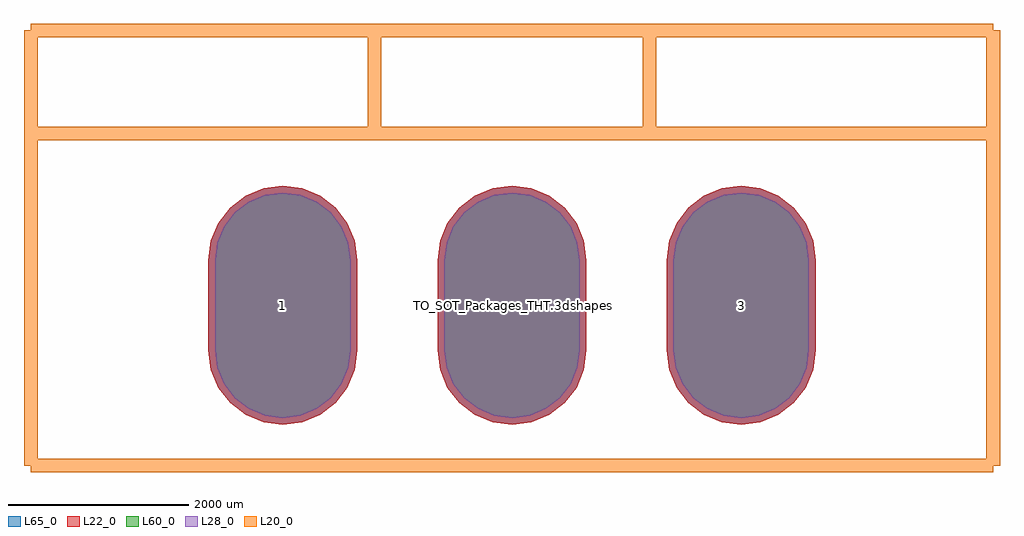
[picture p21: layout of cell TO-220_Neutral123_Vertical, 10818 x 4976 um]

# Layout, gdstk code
import gdstk
lib = gdstk.Library(unit=1e-6, precision=1e-09)
def P(c, l, *ps):  # polygons
    for p in ps: c.add(gdstk.Polygon(p, *l))
L20_0 = (20, 0)
L22_0 = (22, 0)
L28_0 = (28, 0)
L60_0 = (60, 0)
L65_0 = (65, 0)

to_220_neutral123_vertic = lib.new_cell('TO-220_Neutral123_Vertical')
P(to_220_neutral123_vertic, L22_0, [(2540,-1324.68),(2753.673,-1296.549),(2952.785,-1214.075),(3123.766,-1082.876),(3254.965,-911.895),(3337.439,-712.783),(3365.57,-499.11),(3365.57,499.11),(3337.439,712.783),(3254.965,911.895),(3123.766,1082.876),(2952.785,1214.075),(2753.673,1296.549),(2540,1324.68),(2326.327,1296.549),(2127.215,1214.075),(1956.234,1082.876),(1825.035,911.895),(1742.561,712.783),(1714.43,499.11),(1714.43,-499.11),(1742.561,-712.783),(1825.035,-911.895),(1956.234,-1082.876),(2127.215,-1214.075),(2326.327,-1296.549)],
  [(-2540,-1324.68),(-2326.327,-1296.549),(-2127.215,-1214.075),(-1956.234,-1082.876),(-1825.035,-911.895),(-1742.561,-712.783),(-1714.43,-499.11),(-1714.43,499.11),(-1742.561,712.783),(-1825.035,911.895),(-1956.234,1082.876),(-2127.215,1214.075),(-2326.327,1296.549),(-2540,1324.68),(-2753.673,1296.549),(-2952.785,1214.075),(-3123.766,1082.876),(-3254.965,911.895),(-3337.439,712.783),(-3365.57,499.11),(-3365.57,-499.11),(-3337.439,-712.783),(-3254.965,-911.895),(-3123.766,-1082.876),(-2952.785,-1214.075),(-2753.673,-1296.549)],
  [(0,-1324.68),(213.673,-1296.549),(412.785,-1214.075),(583.766,-1082.876),(714.965,-911.895),(797.439,-712.783),(825.57,-499.11),(825.57,499.11),(797.439,712.783),(714.965,911.895),(583.766,1082.876),(412.785,1214.075),(213.673,1296.549),(0,1324.68),(-213.673,1296.549),(-412.785,1214.075),(-583.766,1082.876),(-714.965,911.895),(-797.439,712.783),(-825.57,499.11),(-825.57,-499.11),(-797.439,-712.783),(-714.965,-911.895),(-583.766,-1082.876),(-412.785,-1214.075),(-213.673,-1296.549)])
P(to_220_neutral123_vertic, L28_0, [(2540,-1249.68),(2734.262,-1224.105),(2915.285,-1149.123),(3070.733,-1029.843),(3190.013,-874.395),(3264.995,-693.372),(3290.57,-499.11),(3290.57,499.11),(3264.995,693.372),(3190.013,874.395),(3070.733,1029.843),(2915.285,1149.123),(2734.262,1224.105),(2540,1249.68),(2345.738,1224.105),(2164.715,1149.123),(2009.267,1029.843),(1889.987,874.395),(1815.005,693.372),(1789.43,499.11),(1789.43,-499.11),(1815.005,-693.372),(1889.987,-874.395),(2009.267,-1029.843),(2164.715,-1149.123),(2345.738,-1224.105)],
  [(-2540,-1249.68),(-2345.738,-1224.105),(-2164.715,-1149.123),(-2009.267,-1029.843),(-1889.987,-874.395),(-1815.005,-693.372),(-1789.43,-499.11),(-1789.43,499.11),(-1815.005,693.372),(-1889.987,874.395),(-2009.267,1029.843),(-2164.715,1149.123),(-2345.738,1224.105),(-2540,1249.68),(-2734.262,1224.105),(-2915.285,1149.123),(-3070.733,1029.843),(-3190.013,874.395),(-3264.995,693.372),(-3290.57,499.11),(-3290.57,-499.11),(-3264.995,-693.372),(-3190.013,-874.395),(-3070.733,-1029.843),(-2915.285,-1149.123),(-2734.262,-1224.105)],
  [(0,-1249.68),(194.262,-1224.105),(375.285,-1149.123),(530.733,-1029.843),(650.013,-874.395),(724.995,-693.372),(750.57,-499.11),(750.57,499.11),(724.995,693.372),(650.013,874.395),(530.733,1029.843),(375.285,1149.123),(194.262,1224.105),(0,1249.68),(-194.262,1224.105),(-375.285,1149.123),(-530.733,1029.843),(-650.013,874.395),(-724.995,693.372),(-750.57,499.11),(-750.57,-499.11),(-724.995,-693.372),(-650.013,-874.395),(-530.733,-1029.843),(-375.285,-1149.123),(-194.262,-1224.105)])
P(to_220_neutral123_vertic, L60_0, [(2540,-1249.68),(2734.262,-1224.105),(2915.285,-1149.123),(3070.733,-1029.843),(3190.013,-874.395),(3264.995,-693.372),(3290.57,-499.11),(3290.57,499.11),(3264.995,693.372),(3190.013,874.395),(3070.733,1029.843),(2915.285,1149.123),(2734.262,1224.105),(2540,1249.68),(2345.738,1224.105),(2164.715,1149.123),(2009.267,1029.843),(1889.987,874.395),(1815.005,693.372),(1789.43,499.11),(1789.43,-499.11),(1815.005,-693.372),(1889.987,-874.395),(2009.267,-1029.843),(2164.715,-1149.123),(2345.738,-1224.105)],
  [(-2540,-1249.68),(-2345.738,-1224.105),(-2164.715,-1149.123),(-2009.267,-1029.843),(-1889.987,-874.395),(-1815.005,-693.372),(-1789.43,-499.11),(-1789.43,499.11),(-1815.005,693.372),(-1889.987,874.395),(-2009.267,1029.843),(-2164.715,1149.123),(-2345.738,1224.105),(-2540,1249.68),(-2734.262,1224.105),(-2915.285,1149.123),(-3070.733,1029.843),(-3190.013,874.395),(-3264.995,693.372),(-3290.57,499.11),(-3290.57,-499.11),(-3264.995,-693.372),(-3190.013,-874.395),(-3070.733,-1029.843),(-2915.285,-1149.123),(-2734.262,-1224.105)],
  [(0,-1249.68),(194.262,-1224.105),(375.285,-1149.123),(530.733,-1029.843),(650.013,-874.395),(724.995,-693.372),(750.57,-499.11),(750.57,499.11),(724.995,693.372),(650.013,874.395),(530.733,1029.843),(375.285,1149.123),(194.262,1224.105),(0,1249.68),(-194.262,1224.105),(-375.285,1149.123),(-530.733,1029.843),(-650.013,874.395),(-724.995,693.372),(-750.57,499.11),(-750.57,-499.11),(-724.995,-693.372),(-650.013,-874.395),(-530.733,-1029.843),(-375.285,-1149.123),(-194.262,-1224.105)])
P(to_220_neutral123_vertic, L65_0, [(2540,-1324.68),(2753.673,-1296.549),(2952.785,-1214.075),(3123.766,-1082.876),(3254.965,-911.895),(3337.439,-712.783),(3365.57,-499.11),(3365.57,499.11),(3337.439,712.783),(3254.965,911.895),(3123.766,1082.876),(2952.785,1214.075),(2753.673,1296.549),(2540,1324.68),(2326.327,1296.549),(2127.215,1214.075),(1956.234,1082.876),(1825.035,911.895),(1742.561,712.783),(1714.43,499.11),(1714.43,-499.11),(1742.561,-712.783),(1825.035,-911.895),(1956.234,-1082.876),(2127.215,-1214.075),(2326.327,-1296.549)],
  [(-2540,-1324.68),(-2326.327,-1296.549),(-2127.215,-1214.075),(-1956.234,-1082.876),(-1825.035,-911.895),(-1742.561,-712.783),(-1714.43,-499.11),(-1714.43,499.11),(-1742.561,712.783),(-1825.035,911.895),(-1956.234,1082.876),(-2127.215,1214.075),(-2326.327,1296.549),(-2540,1324.68),(-2753.673,1296.549),(-2952.785,1214.075),(-3123.766,1082.876),(-3254.965,911.895),(-3337.439,712.783),(-3365.57,499.11),(-3365.57,-499.11),(-3337.439,-712.783),(-3254.965,-911.895),(-3123.766,-1082.876),(-2952.785,-1214.075),(-2753.673,-1296.549)],
  [(0,-1324.68),(213.673,-1296.549),(412.785,-1214.075),(583.766,-1082.876),(714.965,-911.895),(797.439,-712.783),(825.57,-499.11),(825.57,499.11),(797.439,712.783),(714.965,911.895),(583.766,1082.876),(412.785,1214.075),(213.673,1296.549),(0,1324.68),(-213.673,1296.549),(-412.785,1214.075),(-583.766,1082.876),(-714.965,911.895),(-797.439,712.783),(-825.57,499.11),(-825.57,-499.11),(-797.439,-712.783),(-714.965,-911.895),(-583.766,-1082.876),(-412.785,-1214.075),(-213.673,-1296.549)])
to_220_neutral123_vertic.add(gdstk.FlexPath([(0,3048),(5334,3048)], 149.998, ends="flush", simple_path=True, layer=20, datatype=0))  # L20_0
to_220_neutral123_vertic.add(gdstk.FlexPath([(0,3048),(-5334,3048)], 149.998, ends="flush", simple_path=True, layer=20, datatype=0))  # L20_0
to_220_neutral123_vertic.add(gdstk.FlexPath([(-5334,1905),(-5334,3048)], 149.998, ends="flush", simple_path=True, layer=20, datatype=0))  # L20_0
to_220_neutral123_vertic.add(gdstk.FlexPath([(5334,1905),(-5334,1905)], 149.998, ends="flush", simple_path=True, layer=20, datatype=0))  # L20_0
to_220_neutral123_vertic.add(gdstk.FlexPath([(5334,3048),(5334,1905)], 149.998, ends="flush", simple_path=True, layer=20, datatype=0))  # L20_0
to_220_neutral123_vertic.add(gdstk.FlexPath([(-5334,-1778),(-5334,1905)], 149.998, ends="flush", simple_path=True, layer=20, datatype=0))  # L20_0
to_220_neutral123_vertic.add(gdstk.FlexPath([(5334,-1778),(-5334,-1778)], 149.998, ends="flush", simple_path=True, layer=20, datatype=0))  # L20_0
to_220_neutral123_vertic.add(gdstk.FlexPath([(5334,1905),(5334,-1778)], 149.998, ends="flush", simple_path=True, layer=20, datatype=0))  # L20_0
to_220_neutral123_vertic.add(gdstk.FlexPath([(1524,3048),(1524,1905)], 149.998, ends="flush", simple_path=True, layer=20, datatype=0))  # L20_0
to_220_neutral123_vertic.add(gdstk.FlexPath([(-1524,3048),(-1524,1905)], 149.998, ends="flush", simple_path=True, layer=20, datatype=0))  # L20_0
to_220_neutral123_vertic.add(gdstk.Label('TO_SOT_Packages_THT.3dshapes/TO-220_Neutral123_Vertical.wrl', (0,0), layer=12, texttype=0))
to_220_neutral123_vertic.add(gdstk.Label('3', (2540,0), layer=28, texttype=0))
to_220_neutral123_vertic.add(gdstk.Label('1', (-2540,0), layer=28, texttype=0))
to_220_neutral123_vertic.add(gdstk.Label('2', (0,0), layer=28, texttype=0))
to_220_neutral123_vertic.add(gdstk.Label('type', (0,-3810), layer=9, texttype=0))
to_220_neutral123_vertic.add(gdstk.Label('devicename', (0,5080), layer=9, texttype=0))

lib.write_gds('TO-220_Neutral123_Vertical.gds')
